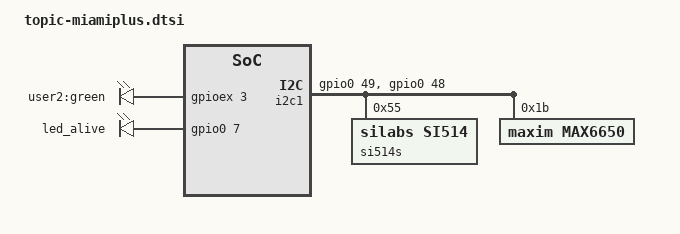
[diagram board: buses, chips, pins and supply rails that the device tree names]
/* the "plus" version has much more I/O pins, but lacks some periferals,
 * and the NAND was replaced by a dual-QSPI NOR setup. */

/* Remove missing periferals */
/delete-node/ &monitorvolt;
/delete-node/ &monitorcurrent;
/delete-node/ &ltc3562;

/* Dual QSPI configuration */
&qspi {
	is-dual = <1>;
};

/* Dual flash, also double the capacity so adjust rootfs and "all" partitions */
&primary_flash {
	partition@qspi-rootfs {
		label = "qspi-rootfs";
		reg = <0x500000 0x3b00000>;
	};
	partition@qspi-all {
		label = "qspi-all";
		reg = <0x0 0x4000000>;
	};
};

/* The plus SOMs have a programmable clock for the high-speed tranceivers */
&i2c1 {
	si514s: si514@55 {
		reg = <0x55>;
		#clock-cells = <0>;
		compatible = "silabs,si514";
		clock-output-names = "si514miami";
	};
	max6650: max6650@1b {
		reg = <0x1b>; /* ADD pins high-Z, hence address 0011011b */
		compatible = "maxim,max6650";
		maxim,fan-voltage = <12000000>;
		maxim,fan-prescale = <1>; /* Good for 240..10000rpm */
		maxim,fan-target-rpm = <600>; /* Run quietly at boot */
	};
};

/* Extra user board LED on GPIO expander */
&leds {
	led_user2: user2 {
		label = "user2:green";
		gpios = <&gpioex 3 0>;
	};
};
/* Alive LED is on MIO7 instead of 25 */
&led_alive {
	gpios = <&gpio0 7 0>;
};
&pinctrl_leds_default {
	mux {
		groups = "gpio0_7_grp";
		function = "gpio0";
	};
	conf {
		groups = "gpio0_7_grp";
		slew-rate = <0>;
		io-standard = <1>;
	};
};

/* I2C bus 1 using pins 48+49 */
&i2c1 {
	gpios = <&gpio0 49 0 /* sda */
		 &gpio0 48 0 /* scl */
		>;
};

&pinctrl_i2c1_default {
	mux {
		groups = "gpio0_48_grp", "gpio0_49_grp";
		function = "gpio0";
	};

	conf {
		groups = "gpio0_48_grp", "gpio0_49_grp";
		bias-pull-up;
		slew-rate = <0>;
		io-standard = <1>;
	};
};
